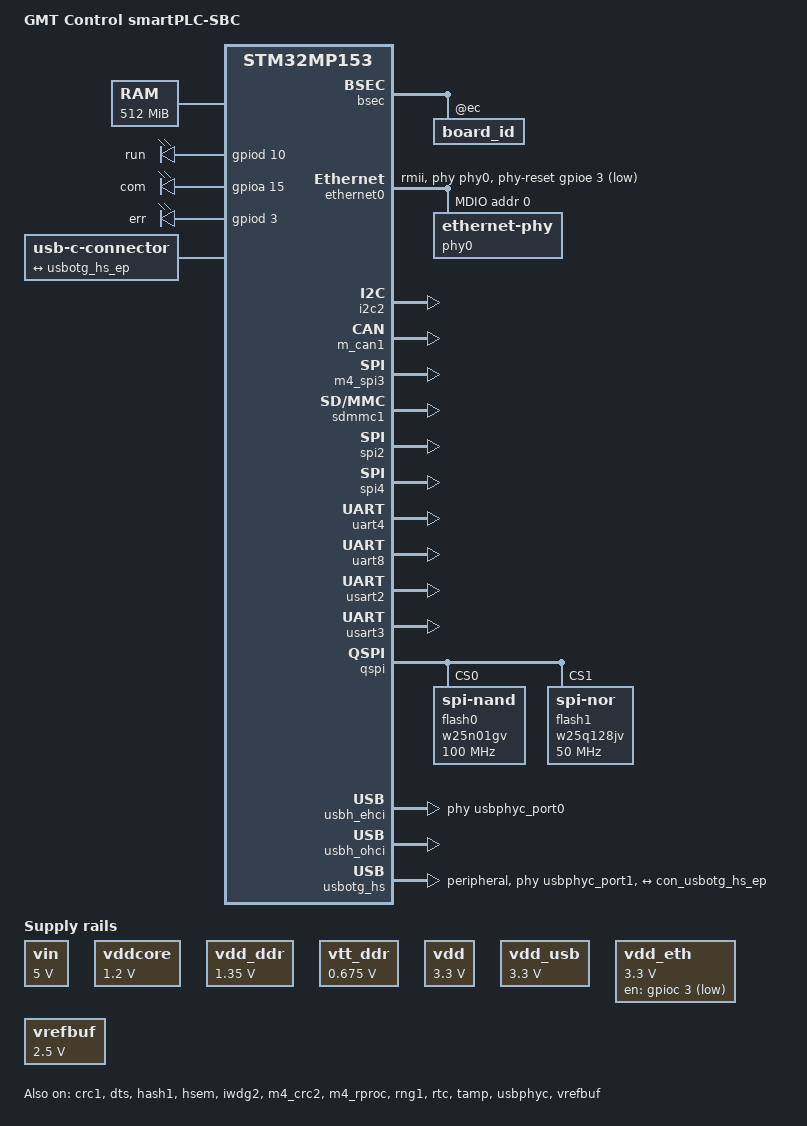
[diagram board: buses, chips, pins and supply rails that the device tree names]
/* SPDX-License-Identifier: (GPL-2.0+ OR BSD-3-Clause) */
/*
 * Copyright (C) STMicroelectronics 2020 - All Rights Reserved
 * Author: STM32CubeMX code generation for STMicroelectronics.
 */

/* For more information on Device Tree configuration, please refer to
 * https://wiki.st.com/stm32mpu/wiki/Category:Device_tree_configuration
 */

/dts-v1/;

#include <dt-bindings/clock/stm32mp1-clksrc.h>
#include "stm32mp153.dtsi"
#include "stm32mp15xa.dtsi"
#include "stm32mp15-plc-pinctrl.dtsi"
#include "stm32mp15xxab-pinctrl.dtsi"
#include "stm32mp15-plc.dtsi"
#include "stm32mp15-u-boot.dtsi"
#include "stm32mp153-m4-srm.dtsi"

/ {
	model = "GMT Control smartPLC-SBC";
	compatible = "st,stm32mp153d-plc", "st,stm32mp153";

	aliases {
		serial0 = &usart3;
		serial1 = &usart2;
		ethernet0 = &ethernet0;
		spi0 = &qspi;
	};

	chosen {
		bootargs = "ubi.mtd=UBI root=ubi0:rootfs rootfstype=ubifs rw rootwait console=ttySTM0,115200";
		stdout-path = "serial0:115200n8";
	};

	memory@c0000000 {
		device_type = "memory";
		reg = <0xC0000000 0x20000000>;
	};

	reserved-memory {
		#address-cells = <1>;
		#size-cells = <1>;
		ranges;

		mcuram2: mcuram2@10000000 {
			compatible = "shared-dma-pool";
			reg = <0x10000000 0x40000>;
			no-map;
		};

		vdev0vring0: vdev0vring0@10040000 {
			compatible = "shared-dma-pool";
			reg = <0x10040000 0x1000>;
			no-map;
		};

		vdev0vring1: vdev0vring1@10041000 {
			compatible = "shared-dma-pool";
			reg = <0x10041000 0x1000>;
			no-map;
		};

		vdev0buffer: vdev0buffer@10042000 {
			compatible = "shared-dma-pool";
			reg = <0x10042000 0x4000>;
			no-map;
		};

		mcuram: mcuram@30000000 {
			compatible = "shared-dma-pool";
			reg = <0x30000000 0x40000>;
			no-map;
		};

		retram: retram@38000000 {
			compatible = "shared-dma-pool";
			reg = <0x38000000 0x10000>;
			no-map;
		};

		optee_memory: optee@0xde000000 {
			reg = <0xde000000 0x02000000>;
			no-map;
		};
	};

	config {
		u-boot,boot-led = "run";
		u-boot,error-led = "err";
		u-boot,mmc-env-partition = "ssbl";
	};

	led {
		compatible = "gpio-leds";

		run {
			label = "run";
			gpios = <&gpiod 10 GPIO_ACTIVE_HIGH>;
			linux,default-trigger = "heartbeat";
			default-state = "on";
			status = "okay";
		};

		com {
			label = "com";
			gpios = <&gpioa 15 GPIO_ACTIVE_HIGH>;
			default-state = "on";
			status = "okay";
		};

		err {
			label = "err";
			gpios = <&gpiod 3 GPIO_ACTIVE_HIGH>;
			default-state = "off";
			status = "okay";
		};
	};

	clocks {
#ifndef CONFIG_STM32MP1_TRUSTED
		clk_lsi: clk-lsi {
			clock-frequency = <32000>;
		};

		clk_hsi: clk-hsi {
			clock-frequency = <64000000>;
		};

		clk_csi: clk-csi {
			clock-frequency = <4000000>;
		};

		clk_lse: clk-lse {
			clock-frequency = <32768>;
			st,drive = <LSEDRV_MEDIUM_HIGH>;
		};

		clk_hse: clk-hse {
			clock-frequency = <24000000>;
		};
#endif	/*CONFIG_STM32MP1_TRUSTED*/
	};

	usb_phy_tuning: usb-phy-tuning {
		st,hs-dc-level = <2>;
		st,fs-rftime-tuning;
		st,hs-rftime-reduction;
		st,hs-current-trim = <15>;
		st,hs-impedance-trim = <1>;
		st,squelch-level = <3>;
		st,hs-rx-offset = <2>;
		st,no-lsfs-sc;
	};

	vin: vin {
		compatible = "regulator-fixed";
		regulator-name = "vin";
		regulator-min-microvolt = <5000000>;
		regulator-max-microvolt = <5000000>;
		regulator-always-on;
	};

	vddcore: vddcore {
		compatible = "regulator-fixed";
		regulator-name = "vddcore";
		regulator-min-microvolt = <1200000>;
		regulator-max-microvolt = <1200000>;
		regulator-always-on;
		lp-stop {
			regulator-on-in-suspend;
		};
		standby-ddr-sr {
			regulator-off-in-suspend;
		};
		standby-ddr-off {
			regulator-off-in-suspend;
		};
	};

	vdd_ddr: vdd_ddr {
		compatible = "regulator-fixed";
		regulator-name = "vdd_ddr";
		regulator-min-microvolt = <1350000>;
		regulator-max-microvolt = <1350000>;
		regulator-always-on;
		lp-stop {
			regulator-on-in-suspend;
		};
		standby-ddr-sr {
			regulator-on-in-suspend;
		};
		standby-ddr-off {
			regulator-off-in-suspend;
		};
	};

	vtt_ddr: vtt_ddr {
		compatible = "regulator-fixed";
		regulator-name = "vtt_ddr";
		regulator-min-microvolt = <675000>;
		regulator-max-microvolt = <675000>;
		regulator-always-on;
		lp-stop {
			regulator-off-in-suspend;
		};
		standby-ddr-sr {
			regulator-off-in-suspend;
		};
		standby-ddr-off {
			regulator-off-in-suspend;
		};
	};

	vdd: vdd {
		compatible = "regulator-fixed";
		regulator-name = "vdd";
		regulator-min-microvolt = <3300000>;
		regulator-max-microvolt = <3300000>;
		regulator-always-on;
		lp-stop {
			regulator-on-in-suspend;
		};
		standby-ddr-sr {
			regulator-on-in-suspend;
		};
		standby-ddr-off {
			regulator-on-in-suspend;
		};
	};

	vdd_usb: vdd_usb {
		compatible = "regulator-fixed";
		regulator-name = "vdd_usb";
		regulator-min-microvolt = <3300000>;
		regulator-max-microvolt = <3300000>;
		regulator-always-on;
		standby-ddr-sr {
			regulator-on-in-suspend;
		};
		standby-ddr-off {
			regulator-on-in-suspend;
		};
	};

	vdd_eth: vdd_eth {
		compatible = "regulator-fixed";
		regulator-name = "vdd_eth";
		regulator-min-microvolt = <3300000>;
		regulator-max-microvolt = <3300000>;
		gpio = <&gpioc 3 GPIO_ACTIVE_HIGH>;
		regulator-always-on;
		regulator-boot-on;
	};

	connector {
		compatible = "usb-c-connector";
		label = "USB-C";
		power-role = "dual";
		power-opmode = "default";

		port {
			con_usbotg_hs_ep: endpoint {
				remote-endpoint = <&usbotg_hs_ep>;
			};
		};
	};
};

#ifndef CONFIG_STM32MP1_TRUSTED
&rcc {
	st,hsi-cal;
	st,csi-cal;
	st,cal-sec = <60>;
	st,clksrc = <
		CLK_MPU_PLL1P
		CLK_AXI_PLL2P
		CLK_MCU_PLL3P
		CLK_PLL12_HSE
		CLK_PLL3_HSE
		CLK_PLL4_HSE
		CLK_RTC_LSE
		CLK_MCO1_DISABLED
		CLK_MCO2_DISABLED
	>;

	st,clkdiv = <
		1 /*MPU*/
		0 /*AXI*/
		0 /*MCU*/
		1 /*APB1*/
		1 /*APB2*/
		1 /*APB3*/
		1 /*APB4*/
		2 /*APB5*/
		23 /*RTC*/
		0 /*MCO1*/
		0 /*MCO2*/
	>;

	st,pkcs = <
		CLK_CKPER_HSE
		CLK_FMC_PLL4P
		CLK_QSPI_PLL4P
		CLK_ETH_PLL4P
		CLK_SDMMC12_PLL4P
		CLK_DSI_DSIPLL
		CLK_STGEN_HSE
		CLK_USBPHY_HSE
		CLK_SPI2S1_PLL3Q
		CLK_SPI2S23_PLL3Q
		CLK_SPI45_HSI
		CLK_SPI6_HSI
		CLK_I2C46_HSI
		CLK_SDMMC3_DISABLED
		CLK_USBO_USBPHY
		CLK_ADC_CKPER
		CLK_CEC_DISABLED
		CLK_I2C12_HSI
		CLK_I2C35_HSI
		CLK_UART1_HSI
		CLK_UART24_HSI
		CLK_UART35_HSI
		CLK_UART6_HSI
		CLK_UART78_HSI
		CLK_SPDIF_DISABLED
		CLK_FDCAN_PLL4Q
		CLK_SAI1_DISABLED
		CLK_SAI2_DISABLED
		CLK_SAI3_DISABLED
		CLK_SAI4_DISABLED
		CLK_RNG1_LSI
		CLK_RNG2_LSI
		CLK_LPTIM1_DISABLED
		CLK_LPTIM23_DISABLED
		CLK_LPTIM45_DISABLED
	>;

	/* VCO = 1066 MHz => P = 266 (AXI), Q = 533 (GPU), R = 533 (DDR) */
	pll2: st,pll@1 {
		compatible = "st,stm32mp1-pll";
		reg = <1>;
		cfg = <2 65 1 0 0 PQR(1,1,1)>;
		frac = <0x1400>;
	};

	/* VCO = 416 MHz => P = 208, Q = 104, R = 11 */
	pll3: st,pll@2 {
		compatible = "st,stm32mp1-pll";
		reg = <2>;
		cfg = <2 51 1 3 36 PQR(1,1,1)>;
	};

	/* VCO = 600 MHz => P = 100, Q = 75, R = 24 */
	pll4: st,pll@3 {
		compatible = "st,stm32mp1-pll";
		reg = <3>;
		cfg = <1 49 5 7 24 PQR(1,1,1)>;
	};
};
#endif /* CONFIG_STM32MP1_TRUSTED */

&bsec {
	mac_addr: mac_addr@e4 {
		reg = <0xe4 0x8>;
		st,non-secure-otp;
	};

	board_id: board_id@ec {
		reg = <0xec 0x4>;
		st,non-secure-otp;
	};
};

&cpu0{
	cpu-supply = <&vddcore>;
};

&cpu1{
	cpu-supply = <&vddcore>;
};

&crc1 {
	status = "okay";
};

&dma1 {
	sram = <&dma_pool>;
	status = "okay";
};

&dma2 {
	sram = <&dma_pool>;
	status = "okay";
};

&dmamux1 {
	status = "okay";
	dma-masters = <&dma1 &dma2>;
	dma-channels = <16>;
};

&dts {
	status = "okay";
};

&ethernet0 {
	status = "okay";
	pinctrl-0 = <&eth0_pins_default>;
	pinctrl-1 = <&eth0_pins_sleep>;
	pinctrl-names = "default", "sleep";
	phy-mode = "rmii";
	max-speed = <100>;
	phy-handle = <&phy0>;
	phy-reset-gpios = <&gpioe 3 GPIO_ACTIVE_LOW>;

	mdio0 {
		#address-cells = <1>;
		#size-cells = <0>;
		compatible = "snps,dwmac-mdio";

		phy0: ethernet-phy@0 {
			reg = <0>;
		};
	};
};

&hash1{
	status = "okay";
};

&hsem {
	status = "okay";
};

&i2c2 {
	pinctrl-names = "default", "sleep";
	pinctrl-0 = <&usbh_i2c2_pins_default>;
	pinctrl-1 = <&usbh_i2c2_pins_sleep>;
	status = "okay";
};

&ipcc {
	status = "okay";
};

&iwdg2 {
	timeout-sec = <32>;
	status = "okay";
};

&m_can1 {
	pinctrl-names = "default", "sleep";
	pinctrl-0 = <&fdcan1_pins_default>;
	pinctrl-1 = <&fdcan1_pins_sleep>;
	status = "okay";
};

&m4_crc2 {
	status = "okay";
};

&m4_spi3 {
	pinctrl-names = "default";
	pinctrl-0 = <&spi3_pins_default>;
	status = "okay";
};

&m4_rproc {
	memory-region = <&retram>, <&mcuram>, <&mcuram2>, <&vdev0vring0>,
			<&vdev0vring1>, <&vdev0buffer>;
	mboxes = <&ipcc 0>, <&ipcc 1>, <&ipcc 2>;
	mbox-names = "vq0", "vq1", "shutdown";
	interrupt-parent = <&exti>;
	interrupts = <68 1>;
	wakeup-source;
	status = "okay";

	m4_system_resources{
		status = "okay";
	};

};

&pwr_regulators {
	vdd-supply = <&vdd>;
	vdd_3v3_usbfs-supply = <&vdd_usb>;
};

&rng1 {
	status = "okay";
};

&rtc {
	pinctrl-names = "default", "sleep";
	pinctrl-0 = <&rtc_pins_default>;
	pinctrl-1 = <&rtc_pins_sleep>;
	status = "okay";
};

&sdmmc1 {
	pinctrl-names = "default", "opendrain", "sleep";
	pinctrl-0 = <&wifi_sdio_pins_default>;
	pinctrl-1 = <&wifi_sdio_pins_opendrain>;
	pinctrl-2 = <&wifi_sdio_pins_sleep>;
	status = "okay";
};

&spi2 {
	pinctrl-names = "default", "sleep";
	pinctrl-0 = <&eth0_spi_pins_default>;
	pinctrl-1 = <&eth0_spi_pins_sleep>;
	status = "okay";
};

&spi4 {
	pinctrl-names = "default", "sleep";
	pinctrl-0 = <&expbus_spi4_pins_default>;
	pinctrl-1 = <&expbus_spi4_pins_sleep>;
	status = "okay";
};

&sram {
	dma_pool: dma_pool@0 {
		reg = <0x50000 0x10000>;
		pool;
	};
};

&tamp {
	status = "okay";
};

&uart4 {
	pinctrl-names = "default", "sleep";
	pinctrl-0 = <&rs485_uart4_pins_default>;
	pinctrl-1 = <&rs485_uart4_pins_sleep>;
	status = "okay";
};

&uart8 {
	pinctrl-names = "default", "sleep";
	pinctrl-0 = <&rs485_uart8_pins_default>;
	pinctrl-1 = <&rs485_uart8_pins_sleep>;
	status = "okay";
};

&usart2 {
	pinctrl-names = "default", "sleep";
	pinctrl-0 = <&rs232_usart2_pins_default>;
	pinctrl-1 = <&rs232_usart2_pins_sleep>;
	status = "okay";
};

&usart3 {
	pinctrl-names = "default", "sleep";
	pinctrl-0 = <&rs232_usart3_pins_default>;
	pinctrl-1 = <&rs232_usart3_pins_sleep>;
	status = "okay";
};

&timers1 {
	/* spare dmas for other usage */
	/delete-property/dmas;
	/delete-property/dma-names;
	status = "disabled";
	timer@0 {
		status = "okay";
	};
};

&timers3 {
	/delete-property/dmas;
	/delete-property/dma-names;
	status = "disabled";
	timer@2 {
		status = "okay";
	};
};

&timers4 {
	/delete-property/dmas;
	/delete-property/dma-names;
	status = "disabled";
	timer@3 {
		status = "okay";
	};
};

&timers5 {
	/delete-property/dmas;
	/delete-property/dma-names;
	status = "disabled";
	timer@4 {
		status = "okay";
	};
};

&timers6 {
	/delete-property/dmas;
	/delete-property/dma-names;
	status = "disabled";
	timer@5 {
		status = "okay";
	};
};

&timers12 {
	/delete-property/dmas;
	/delete-property/dma-names;
	status = "disabled";
	timer@11 {
		status = "okay";
	};
};

&qspi {                                                    
	pinctrl-names = "default", "sleep";
	pinctrl-0 = <&qspi_clk_pins_default &qspi_bk1_pins_default &qspi_bk2_pins_default>;
	pinctrl-1 = <&qspi_clk_pins_sleep &qspi_bk1_pins_sleep &qspi_bk2_pins_sleep>;
	reg = <0x58003000 0x1000>, <0x70000000 0x8000000>;
	#address-cells = <1>;
	#size-cells = <0>;
	status = "okay";

	flash0: w25n01gv@0 {                             
		compatible = "spi-nand";
		reg = <0>;
		spi-rx-bus-width = <4>;
		spi-tx-bus-width = <4>;
		spi-max-frequency = <100000000>;
		#address-cells = <1>;
		#size-cells = <1>;
	};

	flash1: w25q128jv@1 {
		compatible = "jedec,spi-nor";
		reg = <1>;
		spi-rx-bus-width = <4>;
		spi-tx-bus-width = <1>;
		spi-max-frequency = <50000000>;
		#address-cells = <1>;
		#size-cells = <1>;
	};
};

&usart2 {
	pinctrl-names = "default", "sleep";
	pinctrl-0 = <&rs232_usart2_pins_default>;
	pinctrl-1 = <&rs232_usart2_pins_sleep>;
	status = "okay";
};

&usart3 {
	pinctrl-names = "default", "sleep";
	pinctrl-0 = <&rs232_usart3_pins_default>;
	pinctrl-1 = <&rs232_usart3_pins_sleep>;
	status = "okay";
};

&usbh_ehci {
	phys = <&usbphyc_port0>;
	status = "okay";
};

&usbh_ohci {
	status = "okay";
};

&usbotg_hs {
	u-boot,force-b-session-valid;
	hnp-srp-disable;
	/* TEMP: force peripheral for USB OTG */
	dr_mode = "peripheral";
	phys = <&usbphyc_port1 0>;
	phy-names = "usb2-phy";
	usb-role-switch;
	status = "okay";

	port {
		usbotg_hs_ep: endpoint {
			remote-endpoint = <&con_usbotg_hs_ep>;
		};
	};
};

&usbphyc {
	status = "okay";
};

&usbphyc_port0 {
	phy-supply = <&vdd_usb>;
	st,phy-tuning = <&usb_phy_tuning>;
};

&usbphyc_port1 {
	phy-supply = <&vdd_usb>;
	st,phy-tuning = <&usb_phy_tuning>;
};

&vrefbuf {
	regulator-min-microvolt = <2500000>;
	regulator-max-microvolt = <2500000>;
	vdda-supply = <&vdd>;
	status = "okay";
};

&optee_memory {
	status = "okay";
};

/*&optee {
	status = "okay";
};*/
